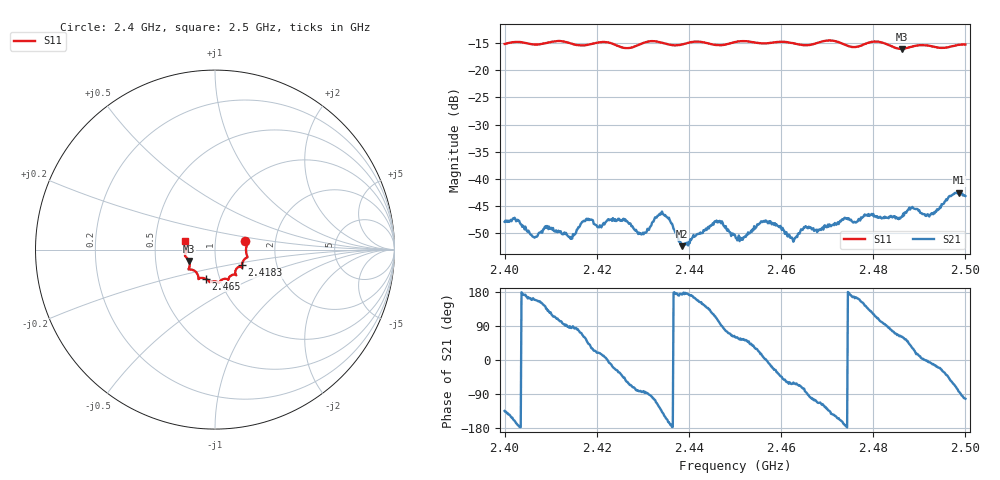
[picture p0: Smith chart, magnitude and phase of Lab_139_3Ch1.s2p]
# Hz S RI R 50
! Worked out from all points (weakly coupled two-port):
!   601 points, 2.4 GHz to 2.5 GHz, reference 50 ohm
!   highest |S21| = -42.56 dB at 2.4987 GHz (marker M1); lowest = -52.4 dB at 2.4385 GHz (marker M2)
!   lowest |S11| = -16.0 dB at 2.4862 GHz (marker M3), VSWR 1.37, Z = 37.1 - j4.83 ohm
!   |S11| at or under -10 dB: start of sweep to end of sweep
!   S12 and S22 are empty: the file has one direction only
!   S11 on the Smith chart (normalised r, x): 2.4 GHz: 1.40, +0.13; 2.4183 GHz: 1.33, -0.24; 2.465 GHz: 0.86, -0.29; 2.5 GHz: 0.71, +0.07
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2.4e9  0.169 0.0458  -0.00281 -0.00286  0 0  0 0
2.4065e9  0.1729 0.00296  -0.00267 0.00103  0 0  0 0
2.409167e9  0.1767 -0.0288  -0.0026 0.00259  0 0  0 0
2.4145e9  0.1693 -0.0496  0.000281 0.00286  0 0  0 0
2.416667e9  0.155 -0.0685  0.00127 0.00369  0 0  0 0
2.418333e9  0.1498 -0.0868  0.00309 0.00277  0 0  0 0
2.426167e9  0.1241 -0.1018  0.00265 -0.0033  0 0  0 0
2.429833e9  0.1136 -0.1355  0.000294 -0.00307  0 0  0 0
2.433333e9  0.1166 -0.1413  -0.00229 -0.00395  0 0  0 0
2.435333e9  0.1052 -0.1389  -0.00407 -0.00164  0 0  0 0
2.4385e9  0.0796 -0.1535  -0.00237 0.000304  0 0  0 0
2.446167e9  0.0515 -0.1629  -0.00114 0.00379  0 0  0 0
2.45e9  0.0252 -0.1806  0.00147 0.00263  0 0  0 0
2.456167e9  -0.0024 -0.1769  0.00402 0.000501  0 0  0 0
2.4625e9  -0.0342 -0.175  0.00129 -0.00247  0 0  0 0
2.465e9  -0.0527 -0.1621  0.00089 -0.00348  0 0  0 0
2.466667e9  -0.0714 -0.1576  -0.000612 -0.00336  0 0  0 0
2.483333e9  -0.142 -0.0957  0.000407 0.0043  0 0  0 0
2.486167e9  -0.1444 -0.0635  0.00218 0.0039  0 0  0 0
2.4925e9  -0.1654 -0.0239  0.00463 -0.000648  0 0  0 0
2.498667e9  -0.1672 0.0407  0.000742 -0.00741  0 0  0 0
2.5e9  -0.1664 0.0472  -0.00146 -0.00678  0 0  0 0
